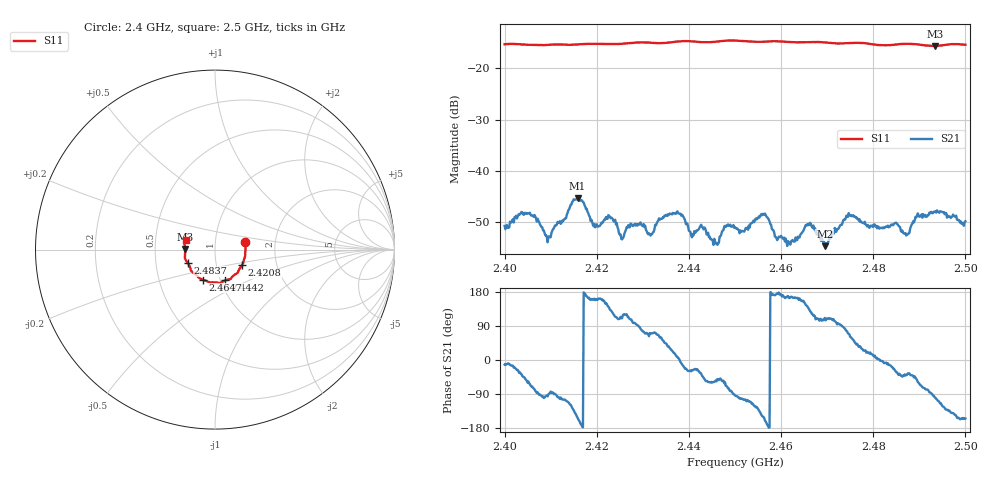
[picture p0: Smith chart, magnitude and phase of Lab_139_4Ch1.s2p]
# Hz S RI R 50
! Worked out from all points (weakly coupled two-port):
!   601 points, 2.4 GHz to 2.5 GHz, reference 50 ohm
!   highest |S21| = -45.39 dB at 2.4158 GHz (marker M1); lowest = -54.8 dB at 2.4695 GHz (marker M2)
!   lowest |S11| = -15.6 dB at 2.4935 GHz (marker M3), VSWR 1.40, Z = 35.8 + j0.224 ohm
!   |S11| at or under -10 dB: start of sweep to end of sweep
!   S12 and S22 are empty: the file has one direction only
!   S11 on the Smith chart (normalised r, x): 2.4 GHz: 1.40, +0.12; 2.4208 GHz: 1.33, -0.24; 2.4442 GHz: 1.05, -0.37; 2.4647 GHz: 0.83, -0.29; 2.4837 GHz: 0.73, -0.11; 2.5 GHz: 0.72, +0.08
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2.4e9  0.1676 0.0411  0.0028 -0.000609  0 0  0 0
2.405e9  0.1704 0.00888  0.00189 -0.00328  0 0  0 0
2.4095e9  0.1688 -0.0251  -2.21e-05 -0.00226  0 0  0 0
2.415833e9  0.1602 -0.0623  -0.00476 -0.00249  0 0  0 0
2.416667e9  0.1591 -0.0681  -0.00508 -0.000764  0 0  0 0
2.420833e9  0.1505 -0.0871  -0.0028 0.000924  0 0  0 0
2.4255e9  0.1345 -0.1114  -0.000742 0.00198  0 0  0 0
2.433333e9  0.1078 -0.1402  0.00128 0.00296  0 0  0 0
2.437667e9  0.0892 -0.161  0.0038 0.000333  0 0  0 0
2.444167e9  0.0567 -0.1714  0.0013 -0.00209  0 0  0 0
2.45e9  0.0245 -0.186  -0.000162 -0.00278  0 0  0 0
2.456167e9  -0.0148 -0.1821  -0.00325 -0.00187  0 0  0 0
2.461667e9  -0.0449 -0.1761  -0.00189 0.000524  0 0  0 0
2.464667e9  -0.0673 -0.1671  -0.00227 0.00107  0 0  0 0
2.466667e9  -0.08 -0.1628  -0.00148 0.0024  0 0  0 0
2.4695e9  -0.0912 -0.1552  -0.000655 0.00169  0 0  0 0
2.474667e9  -0.12 -0.1303  0.00137 0.00358  0 0  0 0
2.483333e9  -0.1507 -0.0762  0.00271 -0.000616  0 0  0 0
2.483667e9  -0.1525 -0.0733  0.00274 -0.00069  0 0  0 0
2.487333e9  -0.1669 -0.051  0.00183 -0.00149  0 0  0 0
2.4935e9  -0.1661 0.00305  -0.000667 -0.00394  0 0  0 0
2.5e9  -0.1624 0.0528  -0.00287 -0.00138  0 0  0 0
